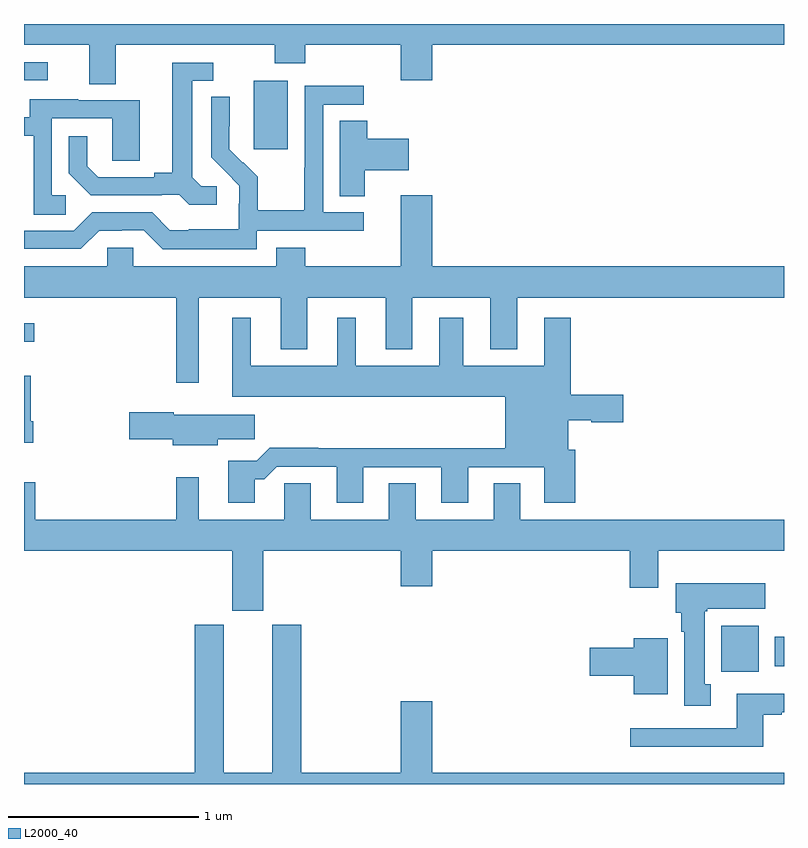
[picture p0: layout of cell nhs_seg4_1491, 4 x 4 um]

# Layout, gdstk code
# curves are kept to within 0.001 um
import gdstk
lib = gdstk.Library(unit=1e-6, precision=1e-09)
def R(c, l, rs):  # rectangles x0, y0, x1, y1
    for r in rs: c.add(gdstk.rectangle(r[:2], r[2:], *l))
def P(c, l, *ps):  # polygons
    for p in ps: c.add(gdstk.Polygon(p, *l))
L2000_40 = (2000, 40)

nhs_seg4_1491 = lib.new_cell('nhs_seg4_1491')
R(nhs_seg4_1491, L2000_40, [(190.67,821.492,190.867,821.734), (190.952,821.52,191,821.676), (187,823.227,187.054,823.324), (188.21,824.241,188.389,824.602), (187,824.604,187.126,824.7)])
P(nhs_seg4_1491, L2000_40, [(187.483,824.792),(188.32,824.792),(188.32,824.693),(188.48,824.693),(188.48,824.792),(188.984,824.792),(188.984,824.604),(189.148,824.604),(189.148,824.792),(191,824.792),(191,824.9),(187,824.9),(187,824.792),(187.343,824.792),(187.343,824.584),(187.483,824.584)],
  [(188.014,824.046),(187.932,824.046),(187.885,824.093),(187.885,824.601),(187.996,824.601),(187.996,824.697),(187.781,824.697),(187.781,824.117),(187.685,824.117),(187.685,824.094),(187.39,824.094),(187.333,824.151),(187.333,824.308),(187.236,824.308),(187.236,824.114),(187.352,823.998),(187.724,823.998),(187.724,824.001),(187.818,824.001),(187.87,823.949),(188.014,823.949)],
  [(188.226,823.812),(188.788,823.812),(188.788,823.908),(188.574,823.908),(188.574,824.475),(188.788,824.475),(188.788,824.574),(188.478,824.574),(188.478,824.144),(188.476,824.144),(188.476,823.921),(188.231,823.921),(188.231,824.095),(188.154,824.172),(188.151,824.169),(188.081,824.24),(188.082,824.516),(187.986,824.516),(187.986,824.198),(188.132,824.05),(188.132,823.953),(188.13,823.953),(188.13,823.819),(187.867,823.819),(187.867,823.815),(187.767,823.815),(187.674,823.908),(187.359,823.908),(187.263,823.812),(187,823.812),(187,823.716),(187.299,823.716),(187.395,823.812),(187.514,823.812),(187.514,823.815),(187.629,823.815),(187.729,823.715),(188.226,823.715)],
  [(187.219,823.998),(187.146,823.998),(187.146,824.403),(187.464,824.403),(187.464,824.179),(187.609,824.179),(187.609,824.499),(187.285,824.499),(187.285,824.503),(187.031,824.503),(187.031,824.409),(187,824.409),(187,824.313),(187.05,824.313),(187.05,823.897),(187.219,823.897)],
  [(188.794,824.129),(189.025,824.129),(189.025,824.295),(188.807,824.295),(188.807,824.39),(188.663,824.39),(188.663,823.993),(188.794,823.993)],
  [(187.921,823.46),(188.351,823.46),(188.351,823.187),(188.491,823.187),(188.491,823.46),(188.903,823.46),(188.903,823.187),(189.043,823.187),(189.043,823.46),(189.455,823.46),(189.455,823.187),(189.595,823.187),(189.595,823.46),(191,823.46),(191,823.624),(189.148,823.624),(189.148,823.999),(188.984,823.999),(188.984,823.624),(188.48,823.624),(188.48,823.723),(188.327,823.723),(188.327,823.624),(187.575,823.624),(187.575,823.722),(187.437,823.722),(187.437,823.624),(187,823.624),(187,823.46),(187.8,823.46),(187.8,823.011),(187.921,823.011)],
  [(188.215,822.503),(188.264,822.503),(188.331,822.57),(188.645,822.57),(188.645,822.381),(188.785,822.381),(188.785,822.567),(189.197,822.567),(189.197,822.381),(189.337,822.381),(189.337,822.567),(189.737,822.567),(189.737,822.381),(189.902,822.381),(189.902,822.66),(189.865,822.66),(189.865,822.815),(189.985,822.815),(189.985,822.803),(190.153,822.803),(190.153,822.95),(189.878,822.95),(189.878,823.354),(189.737,823.354),(189.737,823.102),(189.313,823.102),(189.313,823.354),(189.185,823.354),(189.185,823.102),(188.746,823.102),(188.746,823.354),(188.648,823.354),(188.648,823.102),(188.194,823.102),(188.194,823.354),(188.096,823.354),(188.096,822.938),(189.533,822.938),(189.533,822.668),(188.549,822.668),(188.549,822.671),(188.294,822.671),(188.224,822.601),(188.075,822.601),(188.075,822.381),(188.215,822.381)],
  [(187.049,822.808),(187.036,822.808),(187.036,823.048),(187,823.048),(187,822.696),(187.049,822.696)],
  [(188.02,822.715),(188.215,822.715),(188.215,822.844),(187.788,822.844),(187.788,822.857),(187.554,822.857),(187.554,822.715),(187.784,822.715),(187.784,822.683),(188.02,822.683)],
  [(188.26,822.128),(188.984,822.128),(188.984,821.94),(189.148,821.94),(189.148,822.128),(190.187,822.128),(190.187,821.934),(190.339,821.934),(190.339,822.128),(191,822.128),(191,822.292),(189.613,822.292),(189.613,822.482),(189.473,822.482),(189.473,822.292),(189.061,822.292),(189.061,822.482),(188.921,822.482),(188.921,822.292),(188.509,822.292),(188.509,822.482),(188.37,822.482),(188.37,822.292),(187.921,822.292),(187.921,822.514),(187.8,822.514),(187.8,822.292),(187.058,822.292),(187.058,822.487),(187,822.487),(187,822.128),(188.096,822.128),(188.096,821.811),(188.26,821.811)],
  [(190.615,821.426),(190.582,821.426),(190.582,821.809),(190.596,821.809),(190.596,821.822),(190.9,821.822),(190.9,821.956),(190.43,821.956),(190.43,821.802),(190.46,821.802),(190.46,821.702),(190.475,821.702),(190.475,821.313),(190.615,821.313)],
  [(191,820.96),(189.148,820.96),(189.148,821.335),(188.984,821.335),(188.984,820.96),(188.459,820.96),(188.459,821.739),(188.306,821.739),(188.306,820.96),(188.05,820.96),(188.05,821.739),(187.898,821.739),(187.898,820.96),(187,820.96),(187,820.9),(191,820.9)],
  [(190.387,821.668),(190.208,821.668),(190.208,821.618),(189.978,821.618),(189.978,821.471),(190.208,821.471),(190.208,821.372),(190.387,821.372)],
  [(190.891,821.265),(190.987,821.265),(190.987,821.277),(191,821.277),(191,821.374),(190.751,821.374),(190.751,821.193),(190.191,821.193),(190.191,821.096),(190.891,821.096)])

lib.write_gds('nhs_seg4_1491.gds')
